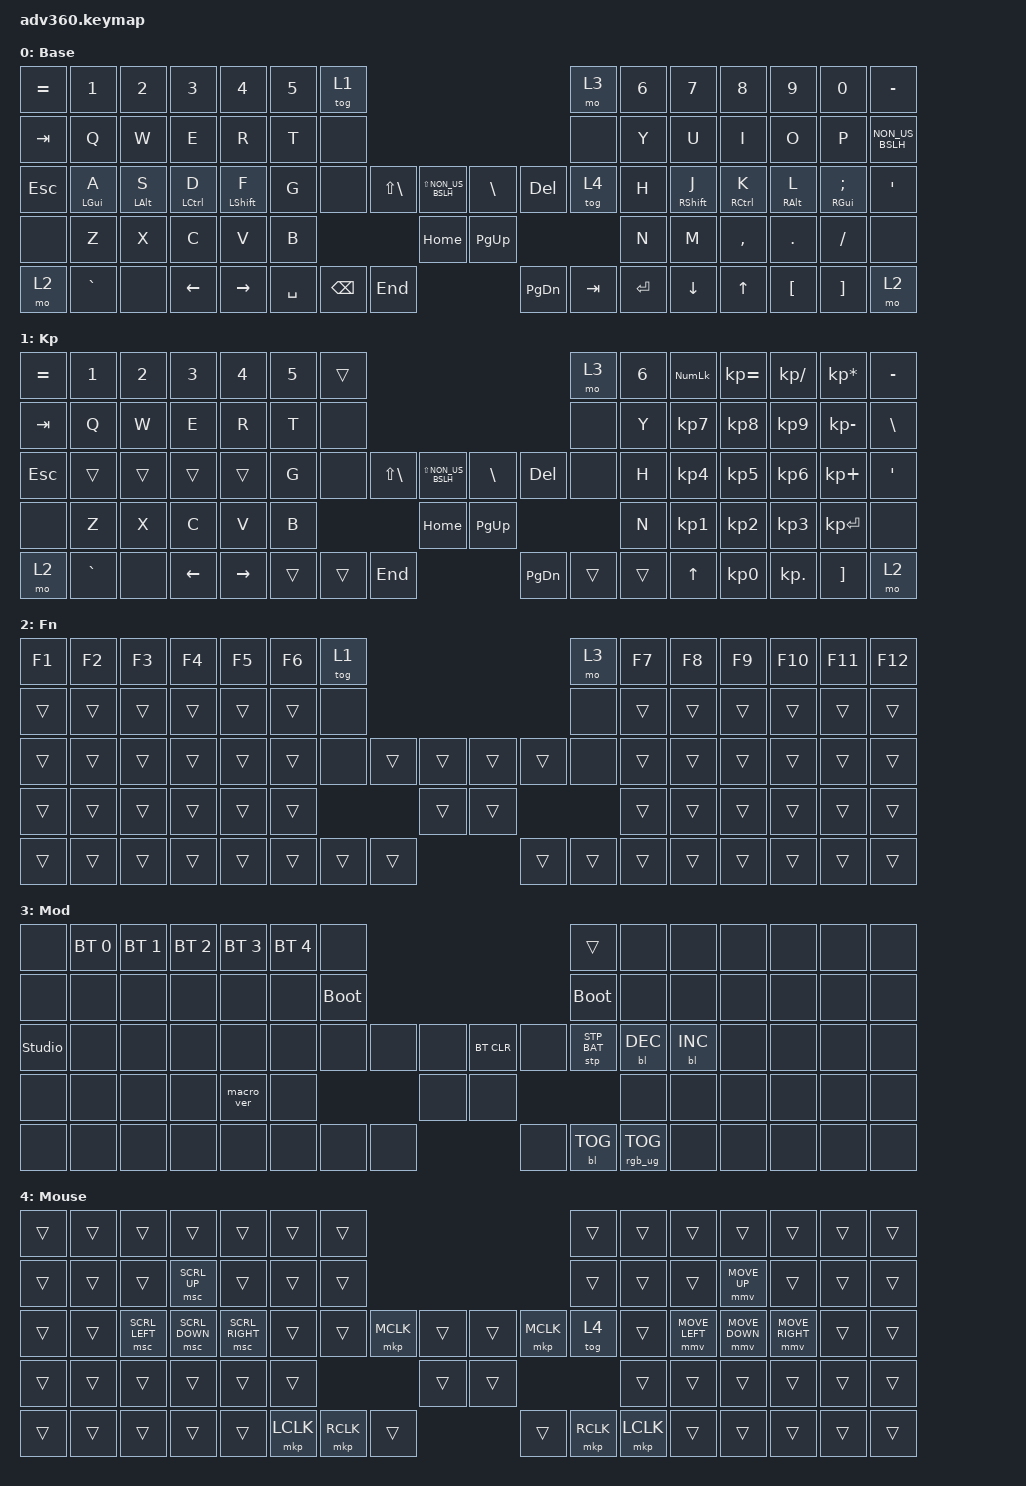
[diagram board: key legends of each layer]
#include <behaviors.dtsi>
#include <dt-bindings/zmk/keys.h>
#include <dt-bindings/zmk/bt.h>
#include <dt-bindings/zmk/rgb.h>
#include <dt-bindings/zmk/stp.h>
#include <dt-bindings/zmk/backlight.h>
#include <dt-bindings/zmk/pointing.h>

#define UK_TILDE LS(BSLH)
#define UK_HASH  BSLH
#define UK_PIPE  LS(NON_US_BSLH)

#define LEFT_KEYS \
     0  1  2  3  4  5  6 \
    14 15 16 17 18 19 20 \
    28 29 30 31 32 33 34 \
    46 47 48 49 50 51 \
    60 61 62 63 64

#define RIGHT_KEYS \
     7  8  9 10 11 12 13 \
    21 22 23 24 25 26 27 \
    39 40 41 42 43 44 45 \
    54 55 56 57 58 59 \
    71 72 73 74 75

#define THUMB_KEYS \
    35 36 37 38 \
    52 53 \
    65 66 67 68 69 70

#define HRM_TAPPING_TERM_MS 150
#define HRM_QUICK_TAP_MS 175
#define HRM_PRIOR_IDLE_MS 150

/ {
    behaviors {
      #include "macros.dtsi"
      #include "version.dtsi"

      hml: homerow_mods_left {
          compatible = "zmk,behavior-hold-tap";
          #binding-cells = <2>;
          bindings = <&kp>, <&kp>;
          flavor = "balanced";
          tapping-term-ms = <HRM_TAPPING_TERM_MS>;
          quick-tap-ms = <HRM_QUICK_TAP_MS>;
          require-prior-idle-ms = <HRM_PRIOR_IDLE_MS>;
          hold-trigger-key-positions = <RIGHT_KEYS THUMB_KEYS>;
          hold-trigger-on-release;
          display-name = "Homerow Mods Left";
      };

      hmr: homerow_mods_right {
          compatible = "zmk,behavior-hold-tap";
          #binding-cells = <2>;
          bindings = <&kp>, <&kp>;
          flavor = "balanced";
          tapping-term-ms = <HRM_TAPPING_TERM_MS>;
          quick-tap-ms = <HRM_QUICK_TAP_MS>;
          require-prior-idle-ms = <HRM_PRIOR_IDLE_MS>;
          hold-trigger-key-positions = <LEFT_KEYS THUMB_KEYS>;
          hold-trigger-on-release;
          display-name = "Homerow Mods Right";
      };
    };

  keymap {
    compatible = "zmk,keymap";

    default_layer {
      display-name = "Base";
      bindings = <
        &kp EQUAL &kp N1      &kp N2      &kp N3       &kp N4       &kp N5 &tog 1                                                                  &mo 3  &kp N6 &kp N7       &kp N8       &kp N9      &kp N0         &kp MINUS
        &kp TAB   &kp Q       &kp W       &kp E        &kp R        &kp T  &none                                                                   &none  &kp Y  &kp U        &kp I        &kp O       &kp P          &kp NON_US_BSLH
        &kp ESC   &hml LGUI A &hml LALT S &hml LCTRL D &hml LSHFT F &kp G  &none            &kp UK_TILDE &kp UK_PIPE &kp UK_HASH &kp DEL           &tog 4 &kp H  &hmr RSHFT J &hmr RCTRL K &hmr RALT L &hmr RGUI SEMI &kp SQT
        &none     &kp Z       &kp X       &kp C        &kp V        &kp B                                &kp HOME    &kp PG_UP                            &kp N  &kp M        &kp COMMA    &kp DOT     &kp FSLH       &none
        &mo 2     &kp GRAVE   &none       &kp LEFT     &kp RIGHT                  &kp SPACE &kp BSPC     &kp END     &kp PG_DN   &kp TAB &kp ENTER               &kp DOWN     &kp UP       &kp LBKT    &kp RBKT       &mo 2
      >;
    };
    keypad {
      display-name = "Kp";
      bindings = <
        &kp EQUAL &kp N1    &kp N2 &kp N3   &kp N4    &kp N5 &trans                                                            &mo 3 &kp N6 &kp KP_NUM &kp KP_EQUAL &kp KP_DIVIDE &kp KP_MULTIPLY &kp MINUS
        &kp TAB   &kp Q     &kp W  &kp E    &kp R     &kp T  &none                                                             &none &kp Y  &kp KP_N7  &kp KP_N8    &kp KP_N9     &kp KP_MINUS    &kp BSLH
        &kp ESC   &trans    &trans &trans   &trans    &kp G  &none         &kp UK_TILDE &kp UK_PIPE &kp UK_HASH &kp DEL        &none &kp H  &kp KP_N4  &kp KP_N5    &kp KP_N6     &kp KP_PLUS     &kp SQT
        &none     &kp Z     &kp X  &kp C    &kp V     &kp B                             &kp HOME    &kp PG_UP                        &kp N  &kp KP_N1  &kp KP_N2    &kp KP_N3     &kp KP_ENTER    &none
        &mo 2     &kp GRAVE &none  &kp LEFT &kp RIGHT               &trans &trans       &kp END     &kp PG_DN   &trans  &trans              &kp UP     &kp KP_N0    &kp KP_DOT    &kp RBKT        &mo 2
      >;
    };
    fn {
      display-name = "Fn";
      bindings = <
        &kp F1 &kp F2 &kp F3 &kp F4 &kp F5 &kp F6 &tog 1                                           &mo 3 &kp F7 &kp F8 &kp F9 &kp F10 &kp F11 &kp F12
        &trans &trans &trans &trans &trans &trans  &none                                           &none &trans &trans &trans &trans  &trans  &trans
        &trans &trans &trans &trans &trans &trans  &none        &trans &trans &trans &trans        &none &trans &trans &trans &trans  &trans  &trans
        &trans &trans &trans &trans &trans &trans                      &trans &trans                     &trans &trans &trans &trans  &trans  &trans
        &trans &trans &trans &trans &trans               &trans &trans &trans &trans &trans &trans              &trans &trans &trans  &trans  &trans
      >;
    };
    mod {
      display-name = "Mod";
      bindings = <
        &none &bt BT_SEL 0 &bt BT_SEL 1 &bt BT_SEL 2 &bt BT_SEL 3 &bt BT_SEL 4 &none                                                                     &trans                 &none        &none        &none        &none &none &none
        &none &none        &none        &none        &none        &none        &bootloader                                                               &bootloader            &none        &none        &none        &none &none &none
        &studio_unlock &none        &none        &none        &none        &none        &none                   &none &none &bt BT_CLR &none                      &stp STP_BAT &bl BL_DEC   &bl BL_INC   &none        &none &none &none
        &none &none        &none        &none        &macro_ver   &none                                      &none &none                                                        &none        &none        &none        &none &none &none
        &none &none        &none        &none        &none                                       &none &none &none &none      &bl BL_TOG &rgb_ug RGB_TOG                                     &none        &none        &none &none &none
      >;
    };
    mouse {
      display-name = "Mouse";
      bindings = <
        &trans &trans &trans         &trans         &trans          &trans &trans                                                       &trans &trans &trans         &trans         &trans          &trans &trans
        &trans &trans &trans         &msc SCRL_UP   &trans          &trans &trans                                                       &trans &trans &trans         &mmv MOVE_UP   &trans          &trans &trans
        &trans &trans &msc SCRL_LEFT &msc SCRL_DOWN &msc SCRL_RIGHT &trans &trans           &mkp MCLK &trans &trans &mkp MCLK           &tog 4 &trans &mmv MOVE_LEFT &mmv MOVE_DOWN &mmv MOVE_RIGHT &trans &trans
        &trans &trans &trans         &trans         &trans          &trans                            &trans &trans                            &trans &trans         &trans         &trans          &trans &trans
        &trans &trans &trans         &trans         &trans                        &mkp LCLK &mkp RCLK &trans &trans &mkp RCLK &mkp LCLK               &trans         &trans         &trans          &trans &trans
      >;
    };

    extra2 { 
      display-name = "Purple";    
      status = "reserved";
    };

    extra3 { 
      display-name = "Cyan";    
      status = "reserved";
    };

    extra4 { 
      display-name = "Yellow";    
      status = "reserved";
    };
  };
};
